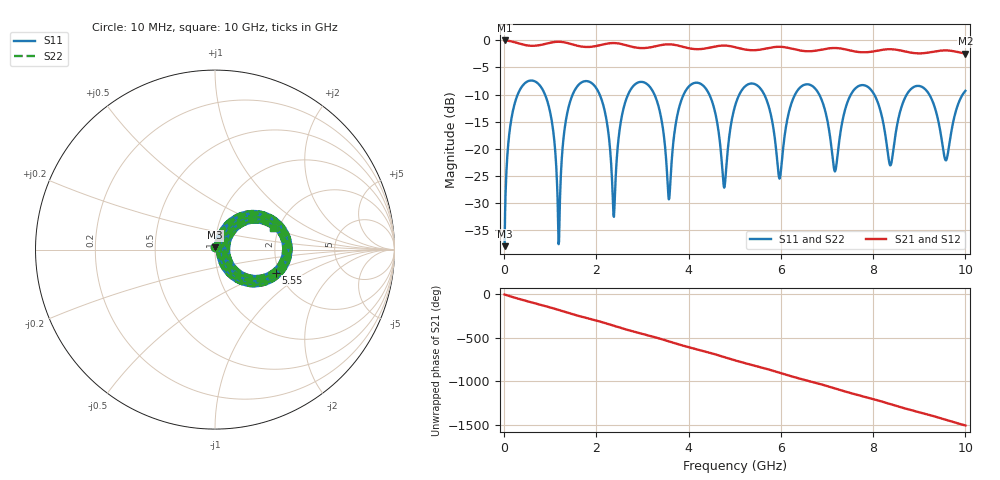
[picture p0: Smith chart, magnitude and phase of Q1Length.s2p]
! Touchstone generated by fitter/viewer
# HZ S  RI R 5.000000e+001
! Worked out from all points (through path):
!   1000 points, 10 MHz to 10 GHz, reference 50 ohm
!   highest |S21| = 0.00 dB at 10 MHz (marker M1); lowest = -2.4 dB at 10 GHz (marker M2)
!   group delay of S21, straight-line fit = 417 ps
!   lowest |S11| = -38.0 dB at 10 MHz (marker M3), VSWR 1.03, Z = 50 + j1.25 ohm
!   |S11| at or under -10 dB: 6.831 GHz to 7.518 GHz (687 MHz wide, 9.58 % of centre); 8.023 GHz to 8.729 GHz (705.6 MHz wide, 8.42 % of centre); 9.217 GHz to 9.941 GHz (724.6 MHz wide, 7.57 % of centre)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
!   |S22| runs from -38.0 to -7.4 dB; largest |S21 - S12| = 0
!   S11 on the Smith chart (normalised r, x): 10 MHz: 1.00, +0.03; 5.55 GHz: 1.91, -0.57; 10 GHz: 1.86, +0.50
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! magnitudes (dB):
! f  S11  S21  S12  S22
! 10 MHz  -38.0  0.0  0.0  -38.0
! 350 MHz  -9.0  -0.6  -0.6  -9.0
! 920 MHz  -10.8  -0.6  -0.6  -10.8
! 1.18 GHz  -37.7  -0.2  -0.2  -37.7
! 1.68 GHz  -7.8  -1.1  -1.1  -7.8
! 2.13 GHz  -11.4  -0.8  -0.8  -11.4
! 2.38 GHz  -32.6  -0.5  -0.5  -32.6
! 2.71 GHz  -9.6  -1.0  -1.0  -9.6
! 3.34 GHz  -12.0  -1.0  -1.0  -12.0
! 3.57 GHz  -29.4  -0.7  -0.7  -29.4
! 3.99 GHz  -8.6  -1.4  -1.4  -8.6
! 4.77 GHz  -27.2  -0.9  -0.9  -27.2
! 5.01 GHz  -12.0  -1.3  -1.3  -12.0
! 5.55 GHz  -8.8  -1.7  -1.7  -8.8
! 5.97 GHz  -25.6  -1.2  -1.2  -25.6
! 6.67 GHz  -8.4  -2.0  -2.0  -8.4
! 7.17 GHz  -24.2  -1.4  -1.4  -24.2
! 7.74 GHz  -8.3  -2.2  -2.2  -8.3
! 8.34 GHz  -22.1  -1.6  -1.6  -22.1
! 8.83 GHz  -8.9  -2.3  -2.3  -8.9
! 9.58 GHz  -22.2  -1.8  -1.8  -22.2
! 10 GHz  -9.3  -2.4  -2.4  -9.3
